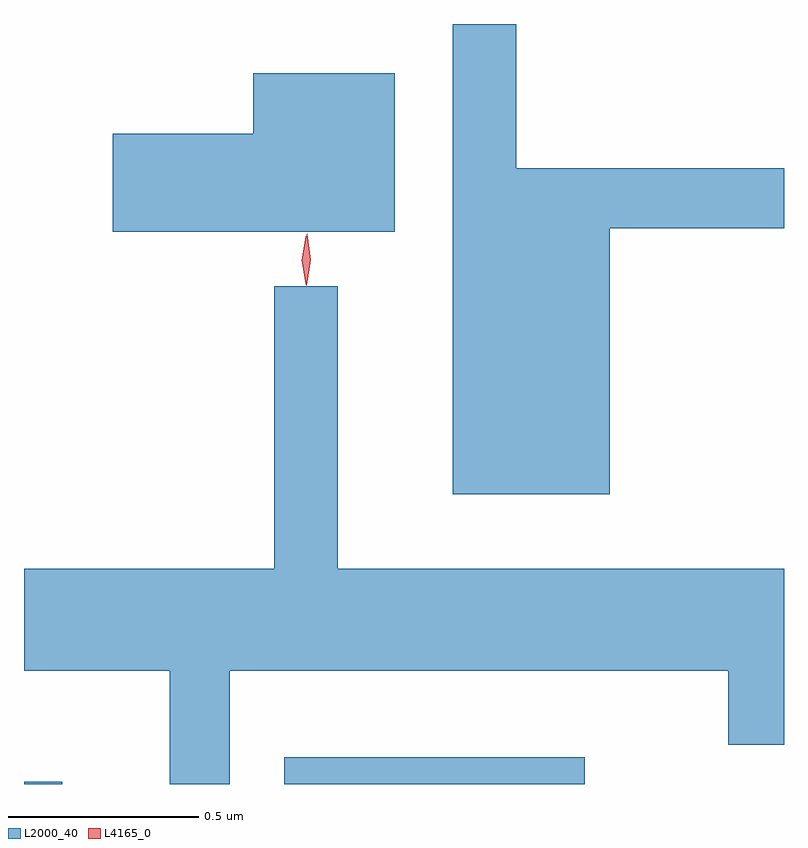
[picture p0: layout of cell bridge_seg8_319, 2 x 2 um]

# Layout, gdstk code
import gdstk
lib = gdstk.Library(unit=1e-6, precision=1e-09)
def R(c, l, rs):  # rectangles x0, y0, x1, y1
    for r in rs: c.add(gdstk.rectangle(r[:2], r[2:], *l))
def P(c, l, *ps):  # polygons
    for p in ps: c.add(gdstk.Polygon(p, *l))
L2000_40 = (2000, 40)
L4165_0 = (4165, 0)

bridge_seg8_319 = lib.new_cell('bridge_seg8_319')
R(bridge_seg8_319, L2000_40, [(1018.703,1940.458,1018.804,1940.464), (1019.388,1940.458,1020.179,1940.529)])
P(bridge_seg8_319, L2000_40, [(1020.244,1941.921),(1020.703,1941.921),(1020.703,1942.079),(1019.999,1942.079),(1019.999,1942.458),(1019.831,1942.458),(1019.831,1941.221),(1020.244,1941.221)],
  [(1019.679,1942.329),(1019.306,1942.329),(1019.306,1942.169),(1018.936,1942.169),(1018.936,1941.911),(1019.679,1941.911)],
  [(1019.244,1940.756),(1020.556,1940.756),(1020.556,1940.561),(1020.703,1940.561),(1020.703,1941.024),(1019.529,1941.024),(1019.529,1941.768),(1019.361,1941.768),(1019.361,1941.024),(1018.703,1941.024),(1018.703,1940.756),(1019.086,1940.756),(1019.086,1940.458),(1019.244,1940.458)])
P(bridge_seg8_319, L4165_0, [(1019.446,1941.77),(1019.446,1941.77),(1019.437,1941.838),(1019.447,1941.905),(1019.448,1941.906),(1019.448,1941.905),(1019.457,1941.838),(1019.447,1941.77)],
  [(1019.444,1941.773),(1019.434,1941.836),(1019.444,1941.899),(1019.444,1941.9),(1019.445,1941.899),(1019.454,1941.836),(1019.445,1941.773),(1019.445,1941.773)])

lib.write_gds('bridge_seg8_319.gds')
